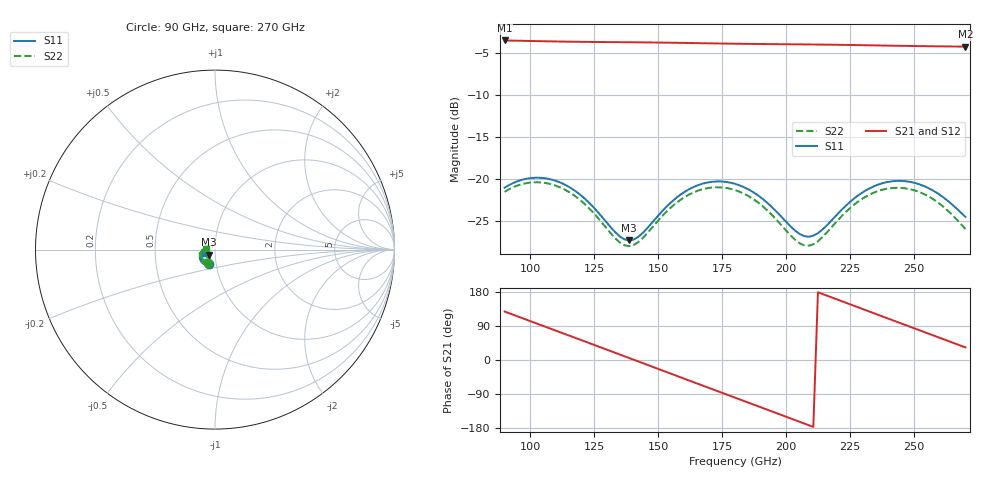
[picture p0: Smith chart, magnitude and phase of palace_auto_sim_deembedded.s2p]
! Created with skrf 1.11.0 (http://scikit-rf.org).
# GHz S DB R 50.0
!freq dBS11 angS11 dBS21 angS21 dBS12 angS12 dBS22 angS22
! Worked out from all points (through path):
!   101 points, 90 GHz to 270 GHz, reference 50 ohm
!   highest |S21| = -3.45 dB at 90 GHz (marker M1); lowest = -4.2 dB at 270 GHz (marker M2)
!   group delay of S21, straight-line fit = 7.02 ps
!   lowest |S11| = -27.3 dB at 138.6 GHz (marker M3), VSWR 1.09, Z = 46.7 - j2.56 ohm
!   |S11| at or under -10 dB: start of sweep to end of sweep
!   |S22| runs from -27.9 to -20.3 dB; largest |S21 - S12| = 7.5e-14
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90  -20.98 -112.6  -3.45 127.9  -3.45 127.9  -21.47 -116.5
97.2  -20.01 -123.9  -3.49 109.7  -3.49 109.7  -20.52 -128.4
104.4  -19.81 -136.1  -3.54 91.6  -3.54 91.6  -20.36 -141.2
111.6  -20.35 -147.8  -3.58 73.5  -3.58 73.5  -20.93 -153.5
120.6  -22.09 -159.2  -3.61 50.8  -3.61 50.8  -22.73 -165.5
129.6  -25.03 -160.7  -3.64 28.2  -3.64 28.2  -25.73 -167.4
138.6  -27.26 -140.8  -3.66 5.4  -3.66 5.4  -27.95 -147.4
151.2  -23.90 -118.9  -3.70 -26.5  -3.70 -26.5  -24.48 -126.9
165.6  -20.68 -131.4  -3.77 -63.0  -3.77 -63.0  -21.33 -141.1
172.8  -20.24 -141.6  -3.80 -81.2  -3.80 -81.2  -20.93 -152.0
180  -20.52 -151.8  -3.84 -99.3  -3.84 -99.3  -21.27 -162.9
187.2  -21.53 -160.5  -3.86 -117.5  -3.86 -117.5  -22.35 -172.2
196.2  -23.84 -165.2  -3.89 -140.2  -3.89 -140.2  -24.80 -177.4
205.2  -26.48 -153.8  -3.91 -163.0  -3.91 -163.0  -27.60 -165.3
210.6  -26.70 -138.7  -3.93 -176.6  -3.93 -176.6  -27.72 -149.4
217.8  -24.85 -125.2  -3.95 165.1  -3.95 165.1  -25.66 -136.4
225  -22.66 -124.2  -3.99 146.8  -3.99 146.8  -23.39 -136.6
234  -20.85 -132.0  -4.03 124.0  -4.03 124.0  -21.60 -145.9
241.2  -20.23 -141.1  -4.07 105.9  -4.07 105.9  -21.02 -155.9
248.4  -20.29 -150.6  -4.10 87.7  -4.10 87.7  -21.16 -166.4
255.6  -21.03 -159.0  -4.13 69.6  -4.13 69.6  -22.02 -175.8
270  -24.46 -163.5  -4.18 33.2  -4.18 33.2  -25.90 179.1
